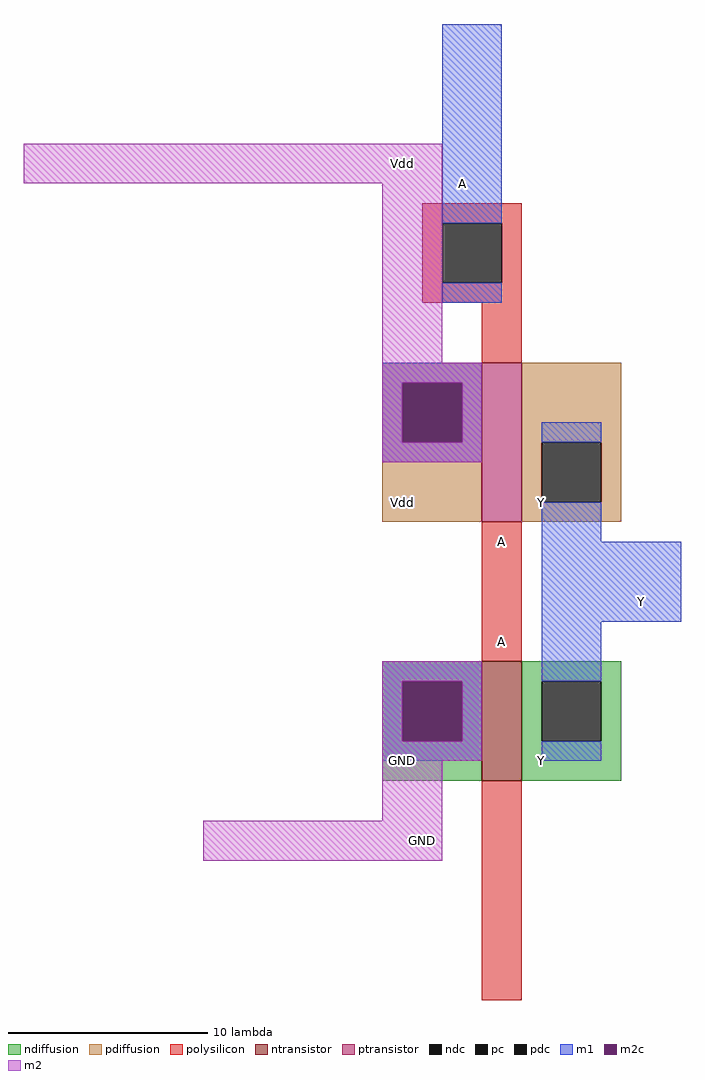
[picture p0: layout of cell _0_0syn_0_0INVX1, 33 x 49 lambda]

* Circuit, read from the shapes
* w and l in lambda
.subckt _0_0syn_0_0INVX1 GND Vdd Y A
M1 Y A GND VSUBS nfet w=6 l=2
M2 Y A Vdd NWELL pfet w=8 l=2
.ends

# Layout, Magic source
magic
tech sky130l
<< ndiffusion >>
rect 6 11 11 12
rect 6 8 7 11
rect 10 8 11 11
rect 6 6 11 8
rect 13 11 18 12
rect 13 8 14 11
rect 17 8 18 11
rect 13 6 18 8
<< ndc >>
rect 7 8 10 11
rect 14 8 17 11
<< ntransistor >>
rect 11 6 13 12
<< pdiffusion >>
rect 6 26 11 27
rect 6 23 7 26
rect 10 23 11 26
rect 6 19 11 23
rect 13 23 18 27
rect 13 20 14 23
rect 17 20 18 23
rect 13 19 18 20
<< pdc >>
rect 7 23 10 26
rect 14 20 17 23
<< ptransistor >>
rect 11 19 13 27
<< polysilicon >>
rect 8 34 13 35
rect 8 31 9 34
rect 12 31 13 34
rect 8 30 13 31
rect 11 27 13 30
rect 11 12 13 19
rect 11 -5 13 6
<< pc >>
rect 9 31 12 34
<< m1 >>
rect 9 34 12 44
rect 9 30 12 31
rect 6 26 11 27
rect 6 23 7 26
rect 10 23 11 26
rect 6 22 11 23
rect 14 23 17 24
rect 14 18 17 20
rect 14 14 21 18
rect 6 11 11 12
rect 6 8 7 11
rect 10 8 11 11
rect 6 7 11 8
rect 14 11 17 14
rect 14 7 17 8
<< m2c >>
rect 7 23 10 26
rect 7 8 10 11
<< m2 >>
rect -12 36 9 38
rect 6 27 9 36
rect 6 26 11 27
rect 6 23 7 26
rect 10 23 11 26
rect 6 22 11 23
rect 6 11 11 12
rect 6 8 7 11
rect 10 8 11 11
rect 6 7 11 8
rect 6 4 9 7
rect -3 2 9 4
<< labels >>
rlabel ndiffusion 14 7 14 7 3 Y
rlabel pdiffusion 14 20 14 20 3 Y
rlabel polysilicon 12 13 12 13 3 A
rlabel polysilicon 12 18 12 18 3 A
rlabel ndiffusion 7 7 7 7 3 GND
rlabel pdiffusion 7 20 7 20 3 Vdd
rlabel m1 19 15 19 15 3 Y
port 3 e
rlabel m1 10 36 10 36 3 A
port 4 e
rlabel m2 7 37 7 37 3 Vdd
port 2 e
rlabel m2 8 3 8 3 3 GND
port 1 e
<< end >>
